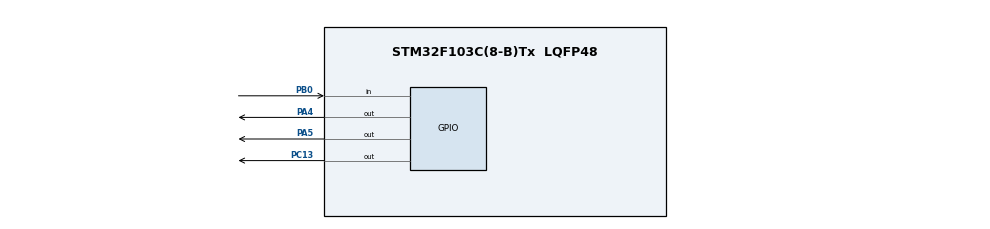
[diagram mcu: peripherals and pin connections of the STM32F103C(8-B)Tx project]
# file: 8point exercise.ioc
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Mcu.Family=STM32F1
Mcu.Name=STM32F103C(8-B)Tx
Mcu.Package=LQFP48
NVIC.PriorityGroup=NVIC_PRIORITYGROUP_4
NVIC.TIM2_IRQn=true\:0\:0\:false\:false\:true\:true\:true\:true
PA13.Mode=Serial_Wire
PA13.Signal=SYS_JTMS-SWDIO
PA14.Mode=Serial_Wire
PA14.Signal=SYS_JTCK-SWCLK
PA4.Signal=GPIO_Output
PA5.Signal=GPIO_Output
PB0.Signal=GPIO_Input
PC13-TAMPER-RTC.Signal=GPIO_Output
ProjectManager.HeapSize=0x200
ProjectManager.StackSize=0x400
ProjectManager.TargetToolchain=STM32CubeIDE
RCC.APB1Freq_Value=8000000
RCC.APB2Freq_Value=8000000
TIM2.Period=999
TIM2.Prescaler=3999
VP_TIM2_VS_ClockSourceINT.Mode=Internal
board=custom

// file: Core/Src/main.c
/* USER CODE BEGIN Header */
/**
  ******************************************************************************
  * @file           : main.c
  * @brief          : Main program body
  ******************************************************************************
  * @attention
  *
  * Copyright (c) 2026 STMicroelectronics.
  * All rights reserved.
  *
  * This software is licensed under terms that can be found in the LICENSE file
  * in the root directory of this software component.
  * If no LICENSE file comes with this software, it is provided AS-IS.
  *
  ******************************************************************************
  */
/* USER CODE END Header */
#include "main.h"

/* USER CODE BEGIN PD */
#define D4_PORT GPIOA
#define D4_PIN  GPIO_PIN_4

#define D5_PORT GPIOA
#define D5_PIN  GPIO_PIN_5

#define D4_ON()  HAL_GPIO_WritePin(D4_PORT, D4_PIN, GPIO_PIN_SET)
#define D4_OFF() HAL_GPIO_WritePin(D4_PORT, D4_PIN, GPIO_PIN_RESET)

#define D5_ON()  HAL_GPIO_WritePin(D5_PORT, D5_PIN, GPIO_PIN_SET)
#define D5_OFF() HAL_GPIO_WritePin(D5_PORT, D5_PIN, GPIO_PIN_RESET)

void process1_run();
void process4_run();

typedef enum {
    PROCESS_1,
    PROCESS_4,
} ProcessType;

volatile ProcessType currentProcess ;
volatile uint8_t step = 0;
volatile uint8_t loop_count = 0;

void process1_run()
{
    switch (step)
    {
        case 0:
            D4_ON(); D5_ON();
            break;

        case 1:
            D4_OFF(); D5_OFF();
            break;

        case 2:
            D4_ON(); D5_OFF();
            break;

        case 3:
            D4_OFF(); D5_ON();
            break;

        case 4:
            D4_ON(); D5_ON();
            break;

        default:
            step = 0;
            return;
    }

    step++;
}

void process4_run()
{
    switch (step)
    {
        // lặp 3 lần
        case 0:
        case 2:
        case 4:
            D4_ON(); D5_OFF();
            break;

        case 1:
        case 3:
        case 5:
            D4_ON(); D5_ON();
            break;

        // delay 2s (4 * 0.5s)
        case 6:
        case 7:
        case 8:
        case 9:
            D4_OFF(); D5_OFF();
            break;

        // cuối
        case 10:
            D4_OFF(); D5_ON();
            break;

        case 11:
            D4_ON(); D5_ON();
            break;

        default:
            step = 0;
            return;
    }

    step++;
}
// debounce
uint8_t lastButtonState = 1;
uint32_t lastDebounceTime = 0;
/* USER CODE END PD */

TIM_HandleTypeDef htim2;

void SystemClock_Config(void);
static void MX_GPIO_Init(void);
static void MX_TIM2_Init(void);

int main(void)
{

  /* MCU Configuration--------------------------------------------------------*/

  /* Reset of all peripherals, Initializes the Flash interface and the Systick. */
  HAL_Init();

  /* Configure the system clock */
  SystemClock_Config();

  /* Initialize all configured peripherals */
  MX_GPIO_Init();
  MX_TIM2_Init();
  /* USER CODE BEGIN 2 */
HAL_TIM_Base_Start_IT(&htim2);
  /* USER CODE END 2 */

  /* Infinite loop */
  while (1)
  {

  }
}

void SystemClock_Config(void)
{
  RCC_OscInitTypeDef RCC_OscInitStruct = {0};
  RCC_ClkInitTypeDef RCC_ClkInitStruct = {0};

  /** Initializes the RCC Oscillators according to the specified parameters
  * in the RCC_OscInitTypeDef structure.
  */
  RCC_OscInitStruct.OscillatorType = RCC_OSCILLATORTYPE_HSI;
  RCC_OscInitStruct.HSIState = RCC_HSI_ON;
  RCC_OscInitStruct.HSICalibrationValue = RCC_HSICALIBRATION_DEFAULT;
  RCC_OscInitStruct.PLL.PLLState = RCC_PLL_NONE;
  if (HAL_RCC_OscConfig(&RCC_OscInitStruct) != HAL_OK)
  {
    Error_Handler();
  }

  /** Initializes the CPU, AHB and APB buses clocks
  */
  RCC_ClkInitStruct.ClockType = RCC_CLOCKTYPE_HCLK|RCC_CLOCKTYPE_SYSCLK
                              |RCC_CLOCKTYPE_PCLK1|RCC_CLOCKTYPE_PCLK2;
  RCC_ClkInitStruct.SYSCLKSource = RCC_SYSCLKSOURCE_HSI;
  RCC_ClkInitStruct.AHBCLKDivider = RCC_SYSCLK_DIV1;
  RCC_ClkInitStruct.APB1CLKDivider = RCC_HCLK_DIV1;
  RCC_ClkInitStruct.APB2CLKDivider = RCC_HCLK_DIV1;

  if (HAL_RCC_ClockConfig(&RCC_ClkInitStruct, FLASH_LATENCY_0) != HAL_OK)
  {
    Error_Handler();
  }
}

static void MX_TIM2_Init(void)
{

  TIM_ClockConfigTypeDef sClockSourceConfig = {0};
  TIM_MasterConfigTypeDef sMasterConfig = {0};

  htim2.Instance = TIM2;
  htim2.Init.Prescaler = 3999;
  htim2.Init.CounterMode = TIM_COUNTERMODE_UP;
  htim2.Init.Period = 65535;
  htim2.Init.ClockDivision = TIM_CLOCKDIVISION_DIV1;
  htim2.Init.AutoReloadPreload = TIM_AUTORELOAD_PRELOAD_DISABLE;
  if (HAL_TIM_Base_Init(&htim2) != HAL_OK)
  {
    Error_Handler();
  }
  sClockSourceConfig.ClockSource = TIM_CLOCKSOURCE_INTERNAL;
  if (HAL_TIM_ConfigClockSource(&htim2, &sClockSourceConfig) != HAL_OK)
  {
    Error_Handler();
  }
  sMasterConfig.MasterOutputTrigger = TIM_TRGO_RESET;
  sMasterConfig.MasterSlaveMode = TIM_MASTERSLAVEMODE_DISABLE;
  if (HAL_TIMEx_MasterConfigSynchronization(&htim2, &sMasterConfig) != HAL_OK)
  {
    Error_Handler();
  }

}

static void MX_GPIO_Init(void)
{
  GPIO_InitTypeDef GPIO_InitStruct = {0};

  /* GPIO Ports Clock Enable */
  __HAL_RCC_GPIOA_CLK_ENABLE();
  __HAL_RCC_GPIOB_CLK_ENABLE();

  /*Configure GPIO pin Output Level */
  HAL_GPIO_WritePin(GPIOA, GPIO_PIN_4|GPIO_PIN_5, GPIO_PIN_RESET);

  /*Configure GPIO pins : PA4 PA5 */
  GPIO_InitStruct.Pin = GPIO_PIN_4|GPIO_PIN_5;
  GPIO_InitStruct.Mode = GPIO_MODE_OUTPUT_PP;
  GPIO_InitStruct.Pull = GPIO_NOPULL;
  GPIO_InitStruct.Speed = GPIO_SPEED_FREQ_LOW;
  HAL_GPIO_Init(GPIOA, &GPIO_InitStruct);

  /*Configure GPIO pin : PB0 */
  GPIO_InitStruct.Pin = GPIO_PIN_0;
  GPIO_InitStruct.Mode = GPIO_MODE_INPUT;
  GPIO_InitStruct.Pull = GPIO_NOPULL;
  HAL_GPIO_Init(GPIOB, &GPIO_InitStruct);

}

/* USER CODE BEGIN 4 */

void HAL_TIM_PeriodElapsedCallback(TIM_HandleTypeDef *htim)
{
	if (htim->Instance == TIM2){
		if((HAL_GPIO_ReadPin(GPIOB,GPIO_PIN_0)== 0))process1_run();
		else((HAL_GPIO_ReadPin(GPIOB,GPIO_PIN_0== 1) process4_run();
	}
}
/* USER CODE END 4 */

void Error_Handler(void)
{
  __disable_irq();
  while (1)
  {
  }
}
